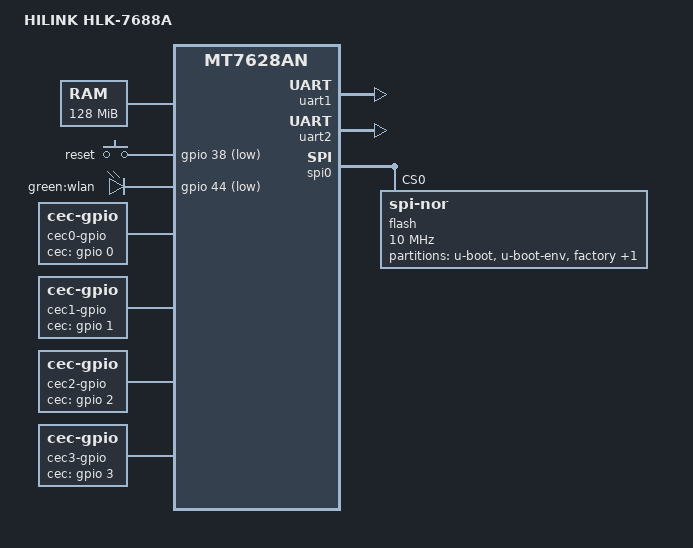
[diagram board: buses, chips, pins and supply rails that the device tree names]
// SPDX-License-Identifier: GPL-2.0-or-later OR MIT
/dts-v1/;

#include "mt7628an.dtsi"

#include <dt-bindings/gpio/gpio.h>
#include <dt-bindings/input/input.h>

/ {
	compatible = "fw_7688", "hilink,cec-7688a", "mediatek,mt7628an-soc";
	model = "HILINK HLK-7688A";

	aliases {
		led-boot = &led_wlan;
		led-failsafe = &led_wlan;
		led-running = &led_wlan;
		led-upgrade = &led_wlan;
	};

	memory@0 {
		device_type = "memory";
		reg = <0x0 0x8000000>;
	};

	chosen {
		bootargs = "console=ttyS1,57600 8250.nr_uarts=3";
	};

	keys {
		compatible = "gpio-keys";

		reset {
			label = "reset";
			gpios = <&gpio 38 GPIO_ACTIVE_LOW>;
			linux,code = <KEY_RESTART>;
		};
	};

	leds {
		compatible = "gpio-leds";

		led_wlan: wlan {
			label = "green:wlan";
			gpios = <&gpio 44 GPIO_ACTIVE_LOW>;
		};
	};

	cec0-gpio {
		compatible = "cec-gpio";
		cec-gpios = <&gpio 0 (GPIO_ACTIVE_HIGH)>;
	};
	cec1-gpio {
		compatible = "cec-gpio";
		cec-gpio = <&gpio 1 (GPIO_ACTIVE_HIGH)>;
	};
	cec2-gpio {
		compatible = "cec-gpio";
		cec-gpio = <&gpio 2 (GPIO_ACTIVE_HIGH)>;
	};
	cec3-gpio {
		compatible = "cec-gpio";
		cec-gpio = <&gpio 3 (GPIO_ACTIVE_HIGH)>;
	};
};

&state_default {
	gpio {
		groups = "i2s", "i2c", "p2led_an", "p4led_an", "wled_an";
		function = "gpio";
	};
};


&uart1 {
	status = "okay";
};
&uart2 {
	status = "okay";
};

&spi0 {
	status = "okay";

	flash@0 {
		compatible = "jedec,spi-nor";
		reg = <0>;
		spi-max-frequency = <10000000>;

		partitions {
			compatible = "fixed-partitions";
			#address-cells = <1>;
			#size-cells = <1>;

			partition@0 {
				label = "u-boot";
				reg = <0x0 0x30000>;
				read-only;
			};

			partition@30000 {
				label = "u-boot-env";
				reg = <0x30000 0x10000>;
			};

			factory: partition@40000 {
				label = "factory";
				reg = <0x40000 0x10000>;
				read-only;
			};

			partition@50000 {
				compatible = "denx,uimage";
				label = "firmware";
				reg = <0x50000 0x1fb0000>;
			};
		};
	};
};

&ethernet {
	mtd-mac-address = <&factory 0x28>;
};
